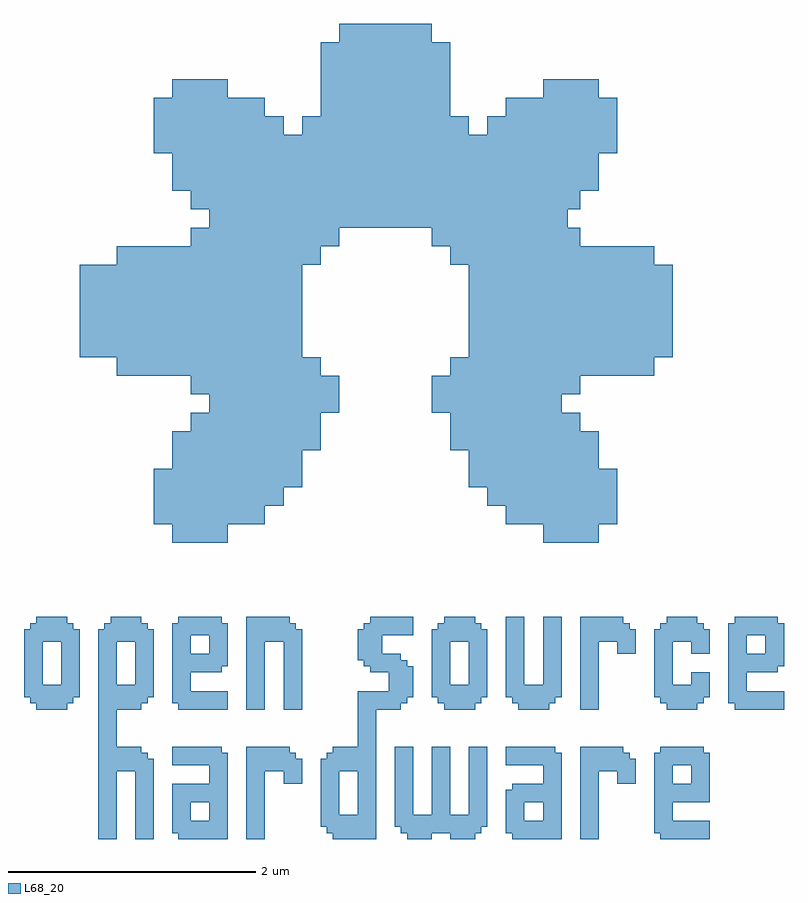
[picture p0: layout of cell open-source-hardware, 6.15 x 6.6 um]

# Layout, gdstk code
import gdstk
lib = gdstk.Library(unit=1e-6, precision=1e-09)
def R(c, l, rs):  # rectangles x0, y0, x1, y1
    for r in rs: c.add(gdstk.rectangle(r[:2], r[2:], *l))
def A(c, l, x, y, w, h, nx, ny, dx, dy):  # array of equal rectangles
    R(c, l, [(x+i*dx, y+j*dy, x+i*dx+w, y+j*dy+h) for i in range(nx) for j in range(ny)])
L68_20 = (68, 20)

open_source_hardware = lib.new_cell('open-source-hardware')
A(open_source_hardware, L68_20, 5.1, -1, 0.45, 0.1, 1, 3, 0, 0.55)
A(open_source_hardware, L68_20, 3, -0.85, 0.15, 0.55, 3, 1, 0.3, 0)
A(open_source_hardware, L68_20, 0, 0.2, 0.15, 0.35, 4, 1, 0.3, 0)
R(open_source_hardware, L68_20, [(0.6,-1.05,0.75,-0.5), (0.9,-1.05,1.05,-0.5), (1.25,-1.05,1.65,-1), (1.8,-1.05,1.95,-0.5), (2.5,-1.05,2.85,-1), (3.1,-1.05,3.3,-1), (3.45,-1.05,3.65,-1), (3.95,-1.05,4.35,-1), (4.5,-1.05,4.65,-0.5), (5.15,-1.05,5.55,-1), (1.2,-1,1.65,-0.9), (2.45,-1,2.85,-0.95), (3.05,-1,3.7,-0.95), (3.9,-1,4.35,-0.9), (2.4,-0.95,2.85,-0.85), (3,-0.95,3.75,-0.85), (1.2,-0.9,1.35,-0.75), (1.5,-0.9,1.65,-0.75), (3.9,-0.9,4.05,-0.75), (4.2,-0.9,4.35,-0.75), (5.1,-0.9,5.25,-0.75), (2.4,-0.85,2.55,-0.5), (2.7,-0.85,2.85,-0.5), (1.2,-0.75,1.65,-0.6), (3.9,-0.75,4.35,-0.65), (5.1,-0.75,5.55,-0.6), (3.95,-0.65,4.35,-0.6), (1.5,-0.6,1.65,-0.45), (2.1,-0.6,2.25,-0.5), (4.2,-0.6,4.35,-0.45), (4.8,-0.6,4.95,-0.5), (5.1,-0.6,5.25,-0.45), (5.4,-0.6,5.55,-0.45), (0.6,-0.5,1.05,-0.4), (1.8,-0.5,2.25,-0.4), (2.4,-0.5,2.85,-0.4), (4.5,-0.5,4.95,-0.4), (1.2,-0.45,1.65,-0.35), (3.9,-0.45,4.35,-0.35), (0.6,-0.4,1,-0.35), (1.8,-0.4,2.2,-0.35), (2.45,-0.4,2.85,-0.35), (4.5,-0.4,4.9,-0.35), (0.6,-0.35,0.95,-0.3), (1.2,-0.35,1.6,-0.3), (1.8,-0.35,2.15,-0.3), (2.5,-0.35,2.85,-0.3), (3.9,-0.35,4.3,-0.3), (4.5,-0.35,4.85,-0.3), (5.15,-0.35,5.5,-0.3), (0.6,-0.3,0.75,0), (2.7,-0.3,2.85,0), (0.1,0,0.35,0.05), (0.6,0,0.95,0.05), (1.25,0,1.65,0.05), (1.8,0,1.95,0.55), (2.1,0,2.25,0.55), (2.7,0,3.05,0.05), (3.4,0,3.65,0.05), (4,0,4.25,0.05), (4.5,0,4.65,0.55), (5.2,0,5.45,0.05), (5.75,0,6.15,0.05), (0.05,0.05,0.4,0.1), (0.6,0.05,1,0.1), (1.2,0.05,1.65,0.15), (2.7,0.05,3.1,0.1), (3.35,0.05,3.7,0.1), (3.95,0.05,4.3,0.1), (5.15,0.05,5.5,0.1), (5.7,0.05,6.15,0.15), (0,0.1,0.45,0.2), (0.6,0.1,1.05,0.2), (2.7,0.1,3.15,0.15), (3.3,0.1,3.75,0.2), (3.9,0.1,4.35,0.2), (1.2,0.15,1.35,0.3), (2.95,0.15,3.15,0.3), (5.7,0.15,5.85,0.3), (3.3,0.2,3.45,0.55), (3.6,0.2,3.75,0.55), (3.9,0.2,4.05,0.75), (4.2,0.2,4.35,0.75), (5.1,0.2,5.25,0.55), (5.4,0.2,5.55,0.3), (1.2,0.3,1.6,0.35), (2.8,0.3,3.15,0.35), (5.7,0.3,6.1,0.35), (1.2,0.35,1.65,0.45), (2.75,0.35,3.1,0.4), (5.7,0.35,6.15,0.45), (2.7,0.4,3.05,0.45), (1.2,0.45,1.35,0.6), (1.5,0.45,1.65,0.6), (2.7,0.45,2.9,0.6), (4.8,0.45,4.95,0.55), (5.4,0.45,5.55,0.55), (5.7,0.45,5.85,0.6), (6,0.45,6.15,0.6), (0,0.55,0.45,0.65), (0.6,0.55,1.05,0.65), (1.8,0.55,2.25,0.65), (3.3,0.55,3.75,0.65), (4.5,0.55,4.95,0.65), (5.1,0.55,5.55,0.65), (1.2,0.6,1.65,0.7), (2.7,0.6,3.15,0.65), (5.7,0.6,6.15,0.7), (0.05,0.65,0.4,0.7), (0.65,0.65,1,0.7), (1.8,0.65,2.2,0.7), (2.75,0.65,3.15,0.7), (3.35,0.65,3.7,0.7), (4.5,0.65,4.9,0.7), (5.15,0.65,5.5,0.7), (0.1,0.7,0.35,0.75), (0.7,0.7,0.95,0.75), (1.25,0.7,1.6,0.75), (1.8,0.7,2.15,0.75), (2.8,0.7,3.15,0.75), (3.4,0.7,3.65,0.75), (4.5,0.7,4.85,0.75), (5.2,0.7,5.45,0.75), (5.75,0.7,6.1,0.75), (1.2,1.35,1.65,1.5), (4.2,1.35,4.65,1.5), (1.05,1.5,1.95,1.65), (3.9,1.5,4.8,1.65), (1.05,1.65,2.1,1.8), (3.75,1.65,4.8,1.8), (1.05,1.8,2.25,1.95), (3.6,1.8,4.8,1.95), (1.2,1.95,2.25,2.1), (3.6,1.95,4.65,2.1), (1.2,2.1,2.4,2.25), (3.45,2.1,4.65,2.25), (1.35,2.25,2.4,2.4), (3.45,2.25,4.5,2.4), (1.5,2.4,2.55,2.55), (3.3,2.4,4.35,2.55), (1.35,2.55,2.55,2.7), (3.3,2.55,4.5,2.7), (0.75,2.7,2.4,2.85), (3.45,2.7,5.1,2.85), (0.45,2.85,2.25,3.6), (3.6,2.85,5.25,3.6), (0.75,3.6,2.4,3.75), (3.45,3.6,5.1,3.75), (1.35,3.75,2.55,3.9), (3.3,3.75,4.5,3.9), (1.5,3.9,4.4,4.05), (1.35,4.05,4.5,4.2), (1.2,4.2,4.65,4.5), (1.05,4.5,4.8,4.65), (1.05,4.65,2.1,4.8), (2.25,4.65,3.6,4.8), (3.75,4.65,4.8,4.8), (1.05,4.8,1.95,4.95), (2.4,4.8,3.45,5.4), (3.9,4.8,4.8,4.95), (1.2,4.95,1.65,5.1), (4.2,4.95,4.65,5.1), (2.55,5.4,3.3,5.55)])

lib.write_gds('open-source-hardware.gds')
